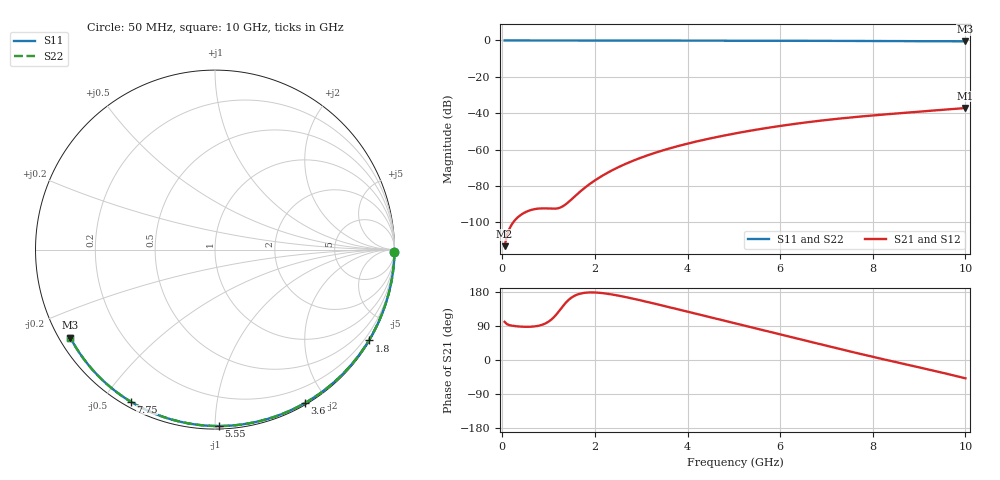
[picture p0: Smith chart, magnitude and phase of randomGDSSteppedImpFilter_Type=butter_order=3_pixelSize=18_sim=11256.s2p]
! freq	dB(S11)	phase(S11)	dB(S12)	phase(S12)
!  dB(S21)	phase(S21)	dB(S22)	phase(S22)
!S-par simulation data
#  GHz  S  DB  R 50
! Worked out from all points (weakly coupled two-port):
!   200 points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, 50 MHz to 10 GHz, reference 50 ohm
!   highest |S21| = -37.18 dB at 10 GHz (marker M1); lowest = -113.2 dB at 50 MHz (marker M2)
!   lowest |S11| = -0.5 dB at 10 GHz (marker M3), VSWR 34.56, Z = 1.56 - j14 ohm
!   |S11| at or under -10 dB: nowhere
!   |S22| runs from -0.5 to 0.0 dB; largest |S21 - S12| = 0
!   S11 on the Smith chart (normalised r, x): 50 MHz: open; 1.8 GHz: 0.03, -3.66; 3.6 GHz: 0.02, -1.75; 5.55 GHz: 0.02, -1.02; 7.75 GHz: 0.02, -0.59; 10 GHz: 0.03, -0.28
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0.05  -0.00 -0.9  -113.19 100.6  -113.19 100.6  -0.00 -0.9
0.45  -0.01 -7.8  -95.16 87.8  -95.16 87.8  -0.01 -7.8
0.85  -0.02 -14.6  -92.40 92.6  -92.40 92.6  -0.02 -14.6
1.3  -0.03 -22.2  -91.35 140.8  -91.35 140.8  -0.03 -22.2
1.75  -0.04 -29.7  -81.71 176.8  -81.71 176.8  -0.04 -29.7
1.8  -0.04 -30.6  -80.69 177.6  -80.69 177.6  -0.04 -30.6
1.85  -0.04 -31.4  -79.71 178.1  -79.71 178.1  -0.04 -31.4
2.05  -0.04 -34.7  -76.16 177.8  -76.16 177.8  -0.04 -34.7
2.2  -0.05 -37.2  -73.84 175.9  -73.84 175.9  -0.05 -37.2
2.55  -0.06 -42.9  -69.21 168.8  -69.21 168.8  -0.06 -42.9
2.95  -0.06 -49.3  -64.93 158.4  -64.93 158.4  -0.06 -49.3
3.4  -0.08 -56.5  -61.01 145.4  -61.01 145.4  -0.08 -56.5
3.6  -0.08 -59.6  -59.49 139.5  -59.49 139.5  -0.08 -59.6
4.3  -0.10 -70.3  -54.96 118.6  -54.96 118.6  -0.10 -70.3
5.05  -0.13 -81.5  -51.05 96.3  -51.05 96.3  -0.13 -81.5
5.55  -0.15 -88.7  -48.83 81.4  -48.83 81.4  -0.15 -88.7
6.1  -0.17 -96.5  -46.67 64.9  -46.67 64.9  -0.17 -96.5
6.7  -0.20 -104.8  -44.65 46.7  -44.65 46.7  -0.20 -104.8
7.75  -0.28 -119.0  -41.83 15.6  -41.83 15.6  -0.28 -119.0
8.35  -0.33 -126.9  -40.51 -1.4  -40.51 -1.4  -0.33 -126.9
9.2  -0.41 -138.1  -38.78 -25.0  -38.78 -25.0  -0.41 -138.1
10  -0.50 -148.7  -37.18 -48.3  -37.18 -48.3  -0.50 -148.7
